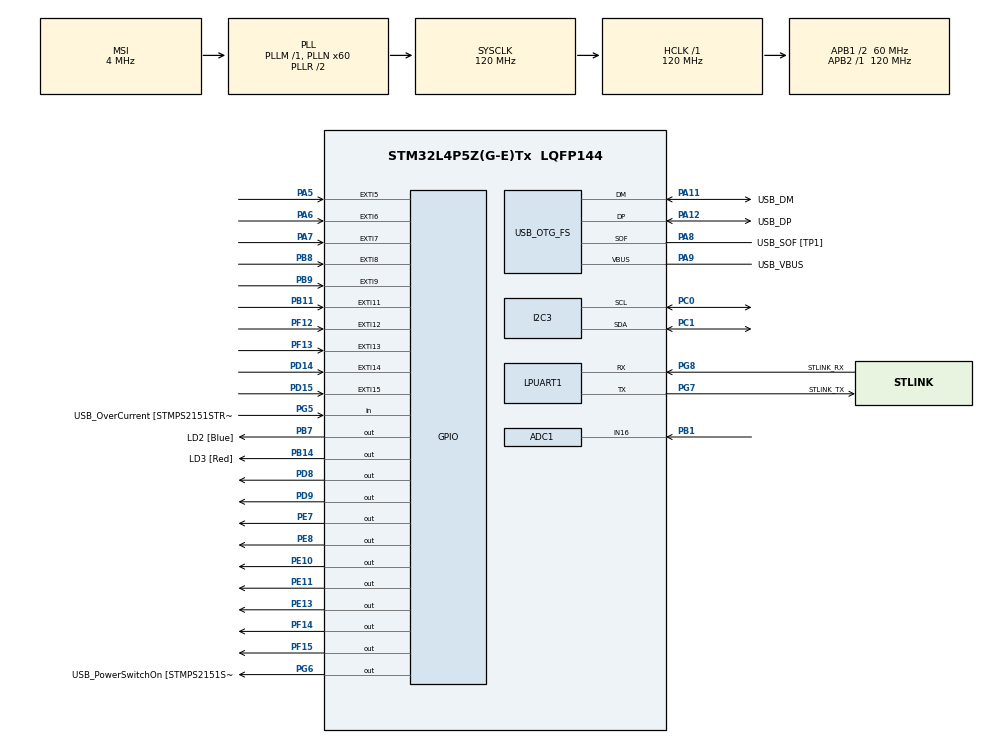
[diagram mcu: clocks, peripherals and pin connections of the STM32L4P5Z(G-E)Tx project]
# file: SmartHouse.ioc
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ADC1.Channel-2\#ChannelRegularConversion=ADC_CHANNEL_16
ADC1.NbrOfConversionFlag=1
ADC1.OffsetNumber-2\#ChannelRegularConversion=ADC_OFFSET_NONE
ADC1.Rank-2\#ChannelRegularConversion=1
ADC1.SamplingTime-2\#ChannelRegularConversion=ADC_SAMPLETIME_2CYCLES_5
ADC1.master=1
FREERTOS.Tasks01=UpdateScreen,24,128,StartUpdate,Default,NULL,Dynamic,NULL,NULL;ReadLM35,8,128,StartRead,Default,NULL,Dynamic,NULL,NULL
I2C3.Timing=0x107075B0
LPUART1.WordLength=UART_WORDLENGTH_8B
Mcu.Family=STM32L4
Mcu.Name=STM32L4P5Z(G-E)Tx
Mcu.Package=LQFP144
NVIC.EXTI15_10_IRQn=true\:5\:0\:false\:false\:true\:true\:true\:true
NVIC.EXTI9_5_IRQn=true\:5\:0\:false\:false\:true\:true\:true\:true
NVIC.LPUART1_IRQn=true\:5\:0\:false\:false\:true\:true\:true\:true
NVIC.PriorityGroup=NVIC_PRIORITYGROUP_4
NVIC.TIM6_DAC_IRQn=true\:0\:0\:false\:false\:true\:false\:false\:true
NVIC.TimeBase=TIM6_DAC_IRQn
NVIC.TimeBaseIP=TIM6
PA10.GPIO_Label=USB_ID
PA10.Signal=USB_OTG_FS_ID
PA11.GPIO_Label=USB_DM
PA11.Mode=Device_Only
PA11.Signal=USB_OTG_FS_DM
PA12.GPIO_Label=USB_DP
PA12.Mode=Device_Only
PA12.Signal=USB_OTG_FS_DP
PA13\ (JTMS/SWDIO).GPIO_Label=TMS
PA13\ (JTMS/SWDIO).Mode=Trace_Asynchronous_SW
PA13\ (JTMS/SWDIO).Signal=SYS_JTMS-SWDIO
PA14\ (JTCK/SWCLK).GPIO_Label=TCK
PA14\ (JTCK/SWCLK).Mode=Trace_Asynchronous_SW
PA14\ (JTCK/SWCLK).Signal=SYS_JTCK-SWCLK
PA5.GPIO_ModeDefaultEXTI=GPIO_MODE_IT_RISING
PA5.GPIO_PuPd=GPIO_PULLDOWN
PA5.Signal=GPXTI5
PA6.GPIO_ModeDefaultEXTI=GPIO_MODE_IT_RISING
PA6.GPIO_PuPd=GPIO_PULLDOWN
PA6.Signal=GPXTI6
PA7.GPIO_ModeDefaultEXTI=GPIO_MODE_IT_RISING
PA7.GPIO_PuPd=GPIO_PULLDOWN
PA7.Signal=GPXTI7
PA8.GPIO_Label=USB_SOF [TP1]
PA8.Mode=Activate_SOF_FS
PA8.Signal=USB_OTG_FS_SOF
PA9.GPIO_Label=USB_VBUS
PA9.Mode=Activate_VBUS
PA9.Signal=USB_OTG_FS_VBUS
PB1.Signal=ADCx_IN16
PB11.GPIO_ModeDefaultEXTI=GPIO_MODE_IT_RISING
PB11.GPIO_PuPd=GPIO_PULLDOWN
PB11.Signal=GPXTI11
PB14.GPIO_Label=LD3 [Red]
PB14.Signal=GPIO_Output
PB3\ (JTDO/TRACESWO).GPIO_Label=SWO
PB3\ (JTDO/TRACESWO).Mode=Trace_Asynchronous_SW
PB3\ (JTDO/TRACESWO).Signal=SYS_JTDO-SWO
PB7.GPIO_Label=LD2 [Blue]
PB7.Signal=GPIO_Output
PB8.GPIO_ModeDefaultEXTI=GPIO_MODE_IT_RISING
PB8.GPIO_PuPd=GPIO_PULLDOWN
PB8.Signal=GPXTI8
PB9.GPIO_ModeDefaultEXTI=GPIO_MODE_IT_RISING
PB9.GPIO_PuPd=GPIO_PULLDOWN
PB9.Signal=GPXTI9
PC0.Mode=I2C
PC0.Signal=I2C3_SCL
PC1.Mode=I2C
PC1.Signal=I2C3_SDA
PC14-OSC32_IN\ (PC14).Mode=LSE-External-Oscillator
PC14-OSC32_IN\ (PC14).Signal=RCC_OSC32_IN
PC15-OSC32_OUT\ (PC15).Mode=LSE-External-Oscillator
PC15-OSC32_OUT\ (PC15).Signal=RCC_OSC32_OUT
PD14.GPIO_ModeDefaultEXTI=GPIO_MODE_IT_RISING
PD14.GPIO_PuPd=GPIO_PULLDOWN
PD14.Signal=GPXTI14
PD15.GPIO_ModeDefaultEXTI=GPIO_MODE_IT_RISING
PD15.GPIO_PuPd=GPIO_PULLDOWN
PD15.Signal=GPXTI15
PD8.Signal=GPIO_Output
PD9.Signal=GPIO_Output
PE10.Signal=GPIO_Output
PE11.Signal=GPIO_Output
PE13.Signal=GPIO_Output
PE7.Signal=GPIO_Output
PE8.Signal=GPIO_Output
PF12.GPIO_PuPd=GPIO_PULLDOWN
PF12.Signal=GPXTI12
PF13.GPIO_PuPd=GPIO_PULLDOWN
PF13.Signal=GPXTI13
PF14.Signal=GPIO_Output
PF15.Signal=GPIO_Output
PG5.GPIO_Label=USB_OverCurrent [STMPS2151STR_FAULT]
PG5.Signal=GPIO_Input
PG6.GPIO_Label=USB_PowerSwitchOn [STMPS2151STR_En]
PG6.Signal=GPIO_Output
PG7.GPIO_Label=STLINK_TX
PG7.Mode=Asynchronous
PG7.Signal=LPUART1_TX
PG8.GPIO_Label=STLINK_RX
PG8.Mode=Asynchronous
PG8.Signal=LPUART1_RX
PH0-OSC_IN\ (PH0).Mode=HSE-External-Clock-Source
PH0-OSC_IN\ (PH0).Signal=RCC_OSC_IN
PH1-OSC_OUT\ (PH1).Signal=RCC_OSC_OUT
ProjectManager.HeapSize=0x200
ProjectManager.StackSize=0x400
ProjectManager.TargetToolchain=STM32CubeIDE
RCC.48MHZClocksFreq_Value=24000000
RCC.ADCFreq_Value=48000000
RCC.AHBFreq_Value=120000000
RCC.APB1CLKDivider=RCC_HCLK_DIV2
RCC.APB1Freq_Value=60000000
RCC.APB1TimFreq_Value=120000000
RCC.APB2Freq_Value=120000000
RCC.APB2TimFreq_Value=120000000
RCC.CortexFreq_Value=120000000
RCC.HCLKFreq_Value=120000000
RCC.HSE_VALUE=8000000
RCC.HSI48_VALUE=48000000
RCC.HSI_VALUE=16000000
RCC.MSI_VALUE=4000000
RCC.PLLMUL=RCC_PLL_MUL9
RCC.PLLN=60
RCC.PLLSAI1N=24
RCC.PRESCALERUSB=RCC_USBCLKSOURCE_PLL_DIV1_5
RCC.SYSCLKFreq_VALUE=120000000
RCC.SYSCLKSource=RCC_SYSCLKSOURCE_PLLCLK
RCC.SYSCLKSourceVirtual=RCC_SYSCLKSOURCE_PLLCLK
RCC.USBFreq_Value=48000000
RCC.VCOOutputFreq_Value=240000000
SH.ADCx_IN16.0=ADC1_IN16,IN16-Single-Ended
USB_OTG_FS.VirtualMode=Device_Only
VP_FREERTOS_VS_CMSIS_V2.Mode=CMSIS_V2
VP_SYS_VS_tim6.Mode=TIM6
board=NUCLEO-L4P5ZG

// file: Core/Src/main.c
/* USER CODE BEGIN Header */
/**
  ******************************************************************************
  * @file           : main.c
  * @brief          : Main program body
  ******************************************************************************
  * @attention
  *
  * <h2><center>&copy; Copyright (c) 2021 STMicroelectronics.
  * All rights reserved.</center></h2>
  *
  * This software component is licensed by ST under BSD 3-Clause license,
  * the "License"; You may not use this file except in compliance with the
  * License. You may obtain a copy of the License at:
  *                        opensource.org/licenses/BSD-3-Clause
  *
  ******************************************************************************
  */
/* USER CODE END Header */
#include "main.h"
#include "cmsis_os.h"

/* USER CODE BEGIN Includes */
#include "string.h"
/* USER CODE END Includes */

/* USER CODE BEGIN PD */

enum status
{
	APAGADO = 0,
	ENCENDIDO,
	ROOM1_ON,
	ROOM1_OFF,
	ROOM2_ON,
	ROOM2_OFF,
	ROOM3_ON,
	ROOM3_OFF,
	BATHROOM1_ON,
	BATHROOM1_OFF,
	BATHROOM2_ON,
	BATHROOM2_OFF,
	KITCHEN_ON,
	KITCHEN_OFF,
	GARDEN_ON,
	GARDEN_OFF,
	LIVINGROOM_ON,
	LIVINGROOM_OFF,
	FAN_ON,
	FAN_OFF
};

enum function
{
	Update_Temp,
	Update_Leds,
	Data_Requested
};

enum info
{
	COMMAND,
	DATA
};

enum options
{
	Change_State,
	Request_FirstFloor,
	Request_SecondFloor,
	Automatic_Mode,
	Manual_Mode
};

/* USER CODE END PD */

ADC_HandleTypeDef hadc1;

I2C_HandleTypeDef hi2c3;

UART_HandleTypeDef hlpuart1;

PCD_HandleTypeDef hpcd_USB_OTG_FS;

/* Definitions for UpdateScreen */
osThreadId_t UpdateScreenHandle;
const osThreadAttr_t UpdateScreen_attributes = {
  .name = "UpdateScreen",
  .priority = (osPriority_t) osPriorityNormal,
  .stack_size = 128 * 4
};
/* Definitions for ReadLM35 */
osThreadId_t ReadLM35Handle;
const osThreadAttr_t ReadLM35_attributes = {
  .name = "ReadLM35",
  .priority = (osPriority_t) osPriorityLow,
  .stack_size = 128 * 4
};
/* USER CODE BEGIN PV */
uint8_t temp_LM35;
uint8_t buffer[2];
uint8_t buffer_in[2];
uint8_t current_mode = Automatic_Mode;

/* USER CODE END PV */

void SystemClock_Config(void);
static void MX_GPIO_Init(void);
static void MX_LPUART1_UART_Init(void);
static void MX_USB_OTG_FS_PCD_Init(void);
static void MX_I2C3_Init(void);
static void MX_ADC1_Init(void);
void StartUpdate(void *argument);
void StartRead(void *argument);

/* USER CODE BEGIN PFP */
void UpdateFirstFloor(void);
void UpdateSecondFloor(void);
void ChangePinState(uint8_t data);
/* USER CODE END PFP */

int main(void)
{

  /* MCU Configuration--------------------------------------------------------*/

  /* Reset of all peripherals, Initializes the Flash interface and the Systick. */
  HAL_Init();

  /* Configure the system clock */
  SystemClock_Config();

  /* Initialize all configured peripherals */
  MX_GPIO_Init();
  MX_LPUART1_UART_Init();
  MX_USB_OTG_FS_PCD_Init();
  MX_I2C3_Init();
  MX_ADC1_Init();
  /* USER CODE BEGIN 2 */
  HAL_UART_Receive_IT(&hlpuart1, buffer_in, 2);

  /* USER CODE END 2 */

  /* Init scheduler */
  osKernelInitialize();

  /* Create the thread(s) */
  /* creation of UpdateScreen */
  UpdateScreenHandle = osThreadNew(StartUpdate, NULL, &UpdateScreen_attributes);

  /* creation of ReadLM35 */
  ReadLM35Handle = osThreadNew(StartRead, NULL, &ReadLM35_attributes);

  /* Start scheduler */
  osKernelStart();

  /* We should never get here as control is now taken by the scheduler */
  /* Infinite loop */
  while (1)
  {

  }
}

void SystemClock_Config(void)
{
  RCC_OscInitTypeDef RCC_OscInitStruct = {0};
  RCC_ClkInitTypeDef RCC_ClkInitStruct = {0};
  RCC_PeriphCLKInitTypeDef PeriphClkInit = {0};

  /** Configure the main internal regulator output voltage
  */
  if (HAL_PWREx_ControlVoltageScaling(PWR_REGULATOR_VOLTAGE_SCALE1_BOOST) != HAL_OK)
  {
    Error_Handler();
  }
  /** Configure LSE Drive Capability
  */
  HAL_PWR_EnableBkUpAccess();
  __HAL_RCC_LSEDRIVE_CONFIG(RCC_LSEDRIVE_LOW);
  /** Initializes the RCC Oscillators according to the specified parameters
  * in the RCC_OscInitTypeDef structure.
  */
  RCC_OscInitStruct.OscillatorType = RCC_OSCILLATORTYPE_LSE|RCC_OSCILLATORTYPE_MSI;
  RCC_OscInitStruct.LSEState = RCC_LSE_ON;
  RCC_OscInitStruct.MSIState = RCC_MSI_ON;
  RCC_OscInitStruct.MSICalibrationValue = 0;
  RCC_OscInitStruct.MSIClockRange = RCC_MSIRANGE_6;
  RCC_OscInitStruct.PLL.PLLState = RCC_PLL_ON;
  RCC_OscInitStruct.PLL.PLLSource = RCC_PLLSOURCE_MSI;
  RCC_OscInitStruct.PLL.PLLM = 1;
  RCC_OscInitStruct.PLL.PLLN = 60;
  RCC_OscInitStruct.PLL.PLLP = RCC_PLLP_DIV7;
  RCC_OscInitStruct.PLL.PLLQ = RCC_PLLQ_DIV2;
  RCC_OscInitStruct.PLL.PLLR = RCC_PLLR_DIV2;
  if (HAL_RCC_OscConfig(&RCC_OscInitStruct) != HAL_OK)
  {
    Error_Handler();
  }
  /** Initializes the CPU, AHB and APB buses clocks
  */
  RCC_ClkInitStruct.ClockType = RCC_CLOCKTYPE_HCLK|RCC_CLOCKTYPE_SYSCLK
                              |RCC_CLOCKTYPE_PCLK1|RCC_CLOCKTYPE_PCLK2;
  RCC_ClkInitStruct.SYSCLKSource = RCC_SYSCLKSOURCE_PLLCLK;
  RCC_ClkInitStruct.AHBCLKDivider = RCC_SYSCLK_DIV1;
  RCC_ClkInitStruct.APB1CLKDivider = RCC_HCLK_DIV2;
  RCC_ClkInitStruct.APB2CLKDivider = RCC_HCLK_DIV1;

  if (HAL_RCC_ClockConfig(&RCC_ClkInitStruct, FLASH_LATENCY_5) != HAL_OK)
  {
    Error_Handler();
  }
  PeriphClkInit.PeriphClockSelection = RCC_PERIPHCLK_LPUART1|RCC_PERIPHCLK_I2C3
                              |RCC_PERIPHCLK_USB|RCC_PERIPHCLK_ADC;
  PeriphClkInit.Lpuart1ClockSelection = RCC_LPUART1CLKSOURCE_PCLK1;
  PeriphClkInit.I2c3ClockSelection = RCC_I2C3CLKSOURCE_PCLK1;
  PeriphClkInit.AdcClockSelection = RCC_ADCCLKSOURCE_PLLSAI1;
  PeriphClkInit.UsbClockSelection = RCC_USBCLKSOURCE_PLLSAI1;
  PeriphClkInit.PLLSAI1.PLLSAI1Source = RCC_PLLSOURCE_MSI;
  PeriphClkInit.PLLSAI1.PLLSAI1M = 1;
  PeriphClkInit.PLLSAI1.PLLSAI1N = 24;
  PeriphClkInit.PLLSAI1.PLLSAI1P = RCC_PLLP_DIV7;
  PeriphClkInit.PLLSAI1.PLLSAI1Q = RCC_PLLQ_DIV2;
  PeriphClkInit.PLLSAI1.PLLSAI1R = RCC_PLLR_DIV2;
  PeriphClkInit.PLLSAI1.PLLSAI1ClockOut = RCC_PLLSAI1_48M2CLK|RCC_PLLSAI1_ADC1CLK;
  if (HAL_RCCEx_PeriphCLKConfig(&PeriphClkInit) != HAL_OK)
  {
    Error_Handler();
  }
  /** Enable MSI Auto calibration
  */
  HAL_RCCEx_EnableMSIPLLMode();
}

static void MX_ADC1_Init(void)
{

  ADC_MultiModeTypeDef multimode = {0};
  ADC_ChannelConfTypeDef sConfig = {0};

  /** Common config
  */
  hadc1.Instance = ADC1;
  hadc1.Init.ClockPrescaler = ADC_CLOCK_ASYNC_DIV1;
  hadc1.Init.Resolution = ADC_RESOLUTION_12B;
  hadc1.Init.DataAlign = ADC_DATAALIGN_RIGHT;
  hadc1.Init.ScanConvMode = ADC_SCAN_DISABLE;
  hadc1.Init.EOCSelection = ADC_EOC_SINGLE_CONV;
  hadc1.Init.LowPowerAutoWait = DISABLE;
  hadc1.Init.ContinuousConvMode = DISABLE;
  hadc1.Init.NbrOfConversion = 1;
  hadc1.Init.DiscontinuousConvMode = DISABLE;
  hadc1.Init.ExternalTrigConv = ADC_SOFTWARE_START;
  hadc1.Init.ExternalTrigConvEdge = ADC_EXTERNALTRIGCONVEDGE_NONE;
  hadc1.Init.DMAContinuousRequests = DISABLE;
  hadc1.Init.Overrun = ADC_OVR_DATA_PRESERVED;
  hadc1.Init.OversamplingMode = DISABLE;
  if (HAL_ADC_Init(&hadc1) != HAL_OK)
  {
    Error_Handler();
  }
  /** Configure the ADC multi-mode
  */
  multimode.Mode = ADC_MODE_INDEPENDENT;
  if (HAL_ADCEx_MultiModeConfigChannel(&hadc1, &multimode) != HAL_OK)
  {
    Error_Handler();
  }
  /** Configure Regular Channel
  */
  sConfig.Channel = ADC_CHANNEL_16;
  sConfig.Rank = ADC_REGULAR_RANK_1;
  sConfig.SamplingTime = ADC_SAMPLETIME_2CYCLES_5;
  sConfig.SingleDiff = ADC_SINGLE_ENDED;
  sConfig.OffsetNumber = ADC_OFFSET_NONE;
  sConfig.Offset = 0;
  if (HAL_ADC_ConfigChannel(&hadc1, &sConfig) != HAL_OK)
  {
    Error_Handler();
  }

}

static void MX_I2C3_Init(void)
{

  hi2c3.Instance = I2C3;
  hi2c3.Init.Timing = 0x107075B0;
  hi2c3.Init.OwnAddress1 = 0;
  hi2c3.Init.AddressingMode = I2C_ADDRESSINGMODE_7BIT;
  hi2c3.Init.DualAddressMode = I2C_DUALADDRESS_DISABLE;
  hi2c3.Init.OwnAddress2 = 0;
  hi2c3.Init.OwnAddress2Masks = I2C_OA2_NOMASK;
  hi2c3.Init.GeneralCallMode = I2C_GENERALCALL_DISABLE;
  hi2c3.Init.NoStretchMode = I2C_NOSTRETCH_DISABLE;
  if (HAL_I2C_Init(&hi2c3) != HAL_OK)
  {
    Error_Handler();
  }
  /** Configure Analogue filter
  */
  if (HAL_I2CEx_ConfigAnalogFilter(&hi2c3, I2C_ANALOGFILTER_ENABLE) != HAL_OK)
  {
    Error_Handler();
  }
  /** Configure Digital filter
  */
  if (HAL_I2CEx_ConfigDigitalFilter(&hi2c3, 0) != HAL_OK)
  {
    Error_Handler();
  }

}

static void MX_LPUART1_UART_Init(void)
{

  hlpuart1.Instance = LPUART1;
  hlpuart1.Init.BaudRate = 209700;
  hlpuart1.Init.WordLength = UART_WORDLENGTH_8B;
  hlpuart1.Init.StopBits = UART_STOPBITS_1;
  hlpuart1.Init.Parity = UART_PARITY_NONE;
  hlpuart1.Init.Mode = UART_MODE_TX_RX;
  hlpuart1.Init.HwFlowCtl = UART_HWCONTROL_NONE;
  hlpuart1.Init.OneBitSampling = UART_ONE_BIT_SAMPLE_DISABLE;
  hlpuart1.Init.ClockPrescaler = UART_PRESCALER_DIV1;
  hlpuart1.AdvancedInit.AdvFeatureInit = UART_ADVFEATURE_NO_INIT;
  hlpuart1.FifoMode = UART_FIFOMODE_DISABLE;
  if (HAL_UART_Init(&hlpuart1) != HAL_OK)
  {
    Error_Handler();
  }
  if (HAL_UARTEx_SetTxFifoThreshold(&hlpuart1, UART_TXFIFO_THRESHOLD_1_8) != HAL_OK)
  {
    Error_Handler();
  }
  if (HAL_UARTEx_SetRxFifoThreshold(&hlpuart1, UART_RXFIFO_THRESHOLD_1_8) != HAL_OK)
  {
    Error_Handler();
  }
  if (HAL_UARTEx_DisableFifoMode(&hlpuart1) != HAL_OK)
  {
    Error_Handler();
  }

}

static void MX_USB_OTG_FS_PCD_Init(void)
{

  hpcd_USB_OTG_FS.Instance = USB_OTG_FS;
  hpcd_USB_OTG_FS.Init.dev_endpoints = 6;
  hpcd_USB_OTG_FS.Init.phy_itface = PCD_PHY_EMBEDDED;
  hpcd_USB_OTG_FS.Init.Sof_enable = ENABLE;
  hpcd_USB_OTG_FS.Init.low_power_enable = DISABLE;
  hpcd_USB_OTG_FS.Init.lpm_enable = DISABLE;
  hpcd_USB_OTG_FS.Init.battery_charging_enable = ENABLE;
  hpcd_USB_OTG_FS.Init.use_dedicated_ep1 = DISABLE;
  hpcd_USB_OTG_FS.Init.vbus_sensing_enable = ENABLE;
  if (HAL_PCD_Init(&hpcd_USB_OTG_FS) != HAL_OK)
  {
    Error_Handler();
  }

}

static void MX_GPIO_Init(void)
{
  GPIO_InitTypeDef GPIO_InitStruct = {0};

  /* GPIO Ports Clock Enable */
  __HAL_RCC_GPIOC_CLK_ENABLE();
  __HAL_RCC_GPIOH_CLK_ENABLE();
  __HAL_RCC_GPIOA_CLK_ENABLE();
  __HAL_RCC_GPIOB_CLK_ENABLE();
  __HAL_RCC_GPIOF_CLK_ENABLE();
  __HAL_RCC_GPIOE_CLK_ENABLE();
  __HAL_RCC_GPIOD_CLK_ENABLE();
  __HAL_RCC_GPIOG_CLK_ENABLE();
  HAL_PWREx_EnableVddIO2();

  /*Configure GPIO pin Output Level */
  HAL_GPIO_WritePin(GPIOF, GPIO_PIN_14|GPIO_PIN_15, GPIO_PIN_RESET);

  /*Configure GPIO pin Output Level */
  HAL_GPIO_WritePin(GPIOE, GPIO_PIN_7|GPIO_PIN_8|GPIO_PIN_10|GPIO_PIN_11
                          |GPIO_PIN_13, GPIO_PIN_RESET);

  /*Configure GPIO pin Output Level */
  HAL_GPIO_WritePin(GPIOB, LD3_Pin|LD2_Pin, GPIO_PIN_RESET);

  /*Configure GPIO pin Output Level */
  HAL_GPIO_WritePin(GPIOD, GPIO_PIN_8|GPIO_PIN_9, GPIO_PIN_RESET);

  /*Configure GPIO pin Output Level */
  HAL_GPIO_WritePin(USB_PowerSwitchOn_GPIO_Port, USB_PowerSwitchOn_Pin, GPIO_PIN_RESET);

  /*Configure GPIO pins : PA5 PA6 PA7 */
  GPIO_InitStruct.Pin = GPIO_PIN_5|GPIO_PIN_6|GPIO_PIN_7;
  GPIO_InitStruct.Mode = GPIO_MODE_IT_RISING;
  GPIO_InitStruct.Pull = GPIO_PULLDOWN;
  HAL_GPIO_Init(GPIOA, &GPIO_InitStruct);

  /*Configure GPIO pins : PF12 PF13 */
  GPIO_InitStruct.Pin = GPIO_PIN_12|GPIO_PIN_13;
  GPIO_InitStruct.Mode = GPIO_MODE_IT_RISING;
  GPIO_InitStruct.Pull = GPIO_PULLDOWN;
  HAL_GPIO_Init(GPIOF, &GPIO_InitStruct);

  /*Configure GPIO pins : PF14 PF15 */
  GPIO_InitStruct.Pin = GPIO_PIN_14|GPIO_PIN_15;
  GPIO_InitStruct.Mode = GPIO_MODE_OUTPUT_PP;
  GPIO_InitStruct.Pull = GPIO_NOPULL;
  GPIO_InitStruct.Speed = GPIO_SPEED_FREQ_LOW;
  HAL_GPIO_Init(GPIOF, &GPIO_InitStruct);

  /*Configure GPIO pins : PE7 PE8 PE10 PE11
                           PE13 */
  GPIO_InitStruct.Pin = GPIO_PIN_7|GPIO_PIN_8|GPIO_PIN_10|GPIO_PIN_11
                          |GPIO_PIN_13;
  GPIO_InitStruct.Mode = GPIO_MODE_OUTPUT_PP;
  GPIO_InitStruct.Pull = GPIO_NOPULL;
  GPIO_InitStruct.Speed = GPIO_SPEED_FREQ_LOW;
  HAL_GPIO_Init(GPIOE, &GPIO_InitStruct);

  /*Configure GPIO pins : PB11 PB8 PB9 */
  GPIO_InitStruct.Pin = GPIO_PIN_11|GPIO_PIN_8|GPIO_PIN_9;
  GPIO_InitStruct.Mode = GPIO_MODE_IT_RISING;
  GPIO_InitStruct.Pull = GPIO_PULLDOWN;
  HAL_GPIO_Init(GPIOB, &GPIO_InitStruct);

  /*Configure GPIO pins : LD3_Pin LD2_Pin */
  GPIO_InitStruct.Pin = LD3_Pin|LD2_Pin;
  GPIO_InitStruct.Mode = GPIO_MODE_OUTPUT_PP;
  GPIO_InitStruct.Pull = GPIO_NOPULL;
  GPIO_InitStruct.Speed = GPIO_SPEED_FREQ_LOW;
  HAL_GPIO_Init(GPIOB, &GPIO_InitStruct);

  /*Configure GPIO pins : PD8 PD9 */
  GPIO_InitStruct.Pin = GPIO_PIN_8|GPIO_PIN_9;
  GPIO_InitStruct.Mode = GPIO_MODE_OUTPUT_PP;
  GPIO_InitStruct.Pull = GPIO_NOPULL;
  GPIO_InitStruct.Speed = GPIO_SPEED_FREQ_LOW;
  HAL_GPIO_Init(GPIOD, &GPIO_InitStruct);

  /*Configure GPIO pins : PD14 PD15 */
  GPIO_InitStruct.Pin = GPIO_PIN_14|GPIO_PIN_15;
  GPIO_InitStruct.Mode = GPIO_MODE_IT_RISING;
  GPIO_InitStruct.Pull = GPIO_PULLDOWN;
  HAL_GPIO_Init(GPIOD, &GPIO_InitStruct);

  /*Configure GPIO pin : USB_OverCurrent_Pin */
  GPIO_InitStruct.Pin = USB_OverCurrent_Pin;
  GPIO_InitStruct.Mode = GPIO_MODE_INPUT;
  GPIO_InitStruct.Pull = GPIO_NOPULL;
  HAL_GPIO_Init(USB_OverCurrent_GPIO_Port, &GPIO_InitStruct);

  /*Configure GPIO pin : USB_PowerSwitchOn_Pin */
  GPIO_InitStruct.Pin = USB_PowerSwitchOn_Pin;
  GPIO_InitStruct.Mode = GPIO_MODE_OUTPUT_PP;
  GPIO_InitStruct.Pull = GPIO_NOPULL;
  GPIO_InitStruct.Speed = GPIO_SPEED_FREQ_LOW;
  HAL_GPIO_Init(USB_PowerSwitchOn_GPIO_Port, &GPIO_InitStruct);

  /* EXTI interrupt init*/
  HAL_NVIC_SetPriority(EXTI9_5_IRQn, 5, 0);
  HAL_NVIC_EnableIRQ(EXTI9_5_IRQn);

  HAL_NVIC_SetPriority(EXTI15_10_IRQn, 5, 0);
  HAL_NVIC_EnableIRQ(EXTI15_10_IRQn);

}

/* USER CODE BEGIN 4 */
/*ISR routines */
void HAL_GPIO_EXTI_Callback(uint16_t GPIO_Pin)
{
	buffer[COMMAND] = Update_Leds;
	switch(GPIO_Pin)
	{
		case GPIO_PIN_8:
			HAL_GPIO_TogglePin(GPIOE, GPIO_PIN_11);
			if(HAL_GPIO_ReadPin(GPIOE, GPIO_PIN_11))
			{
				buffer[DATA] = ROOM1_ON;
			}
			else
			{
				buffer[DATA] = ROOM1_OFF;
			}
			break;
		case GPIO_PIN_9:
			HAL_GPIO_TogglePin(GPIOF, GPIO_PIN_14);
			if(HAL_GPIO_ReadPin(GPIOF, GPIO_PIN_14))
			{
				buffer[DATA] = ROOM2_ON;
			}
			else
			{
				buffer[DATA] = ROOM2_OFF;
			}
			break;
		case GPIO_PIN_5:
			HAL_GPIO_TogglePin(GPIOE, GPIO_PIN_13);
			if(HAL_GPIO_ReadPin(GPIOE, GPIO_PIN_13))
			{
				buffer[DATA] = ROOM3_ON;
			}
			else
			{
				buffer[DATA] = ROOM3_OFF;
			}
			break;
		case GPIO_PIN_6:
			HAL_GPIO_TogglePin(GPIOF, GPIO_PIN_15);
			if(HAL_GPIO_ReadPin(GPIOF, GPIO_PIN_15))
			{
				buffer[DATA] = BATHROOM1_ON;
			}
			else
			{
				buffer[DATA] = BATHROOM1_OFF;
			}
			break;
		case GPIO_PIN_7:
			HAL_GPIO_TogglePin(GPIOD, GPIO_PIN_8);
			if(HAL_GPIO_ReadPin(GPIOD, GPIO_PIN_8))
			{
				buffer[DATA] = BATHROOM2_ON;
			}
			else
			{
				buffer[DATA] = BATHROOM2_OFF;
			}
			break;
		case GPIO_PIN_14:
			HAL_GPIO_TogglePin(GPIOD, GPIO_PIN_9);
			if(HAL_GPIO_ReadPin(GPIOD, GPIO_PIN_9))
			{
				buffer[DATA] = KITCHEN_ON;
			}
			else
			{
				buffer[DATA] = KITCHEN_OFF;
			}
			break;
		case GPIO_PIN_15:
			HAL_GPIO_TogglePin(GPIOE, GPIO_PIN_8);
			if(HAL_GPIO_ReadPin(GPIOE, GPIO_PIN_8))
			{
				buffer[DATA] = GARDEN_ON;
			}
			else
			{
				buffer[DATA] = GARDEN_OFF;
			}
			break;
		case GPIO_PIN_12:
			HAL_GPIO_TogglePin(GPIOE, GPIO_PIN_7);
			if(HAL_GPIO_ReadPin(GPIOE, GPIO_PIN_7))
			{
				buffer[DATA] = LIVINGROOM_ON;
			}
			else
			{
				buffer[DATA] = LIVINGROOM_OFF;
			}
			break;
		case GPIO_PIN_13:
			if(current_mode == Manual_Mode)
			{
				HAL_GPIO_TogglePin(GPIOE, GPIO_PIN_10);
				if(HAL_GPIO_ReadPin(GPIOE, GPIO_PIN_10))
				{
					buffer[DATA] = FAN_ON;
				}
				else
				{
					buffer[DATA] = FAN_OFF;
				}
			}
			else
			{
				buffer[DATA] = 50;
			}
			break;
		case GPIO_PIN_11:
			HAL_GPIO_TogglePin(GPIOE, GPIO_PIN_8);
			if(HAL_GPIO_ReadPin(GPIOE, GPIO_PIN_8))
			{
				buffer[DATA] = GARDEN_ON;
			}
			else
			{
				buffer[DATA] = GARDEN_OFF;
			}
			break;
	}

	HAL_UART_Transmit(&hlpuart1, buffer, 2, HAL_MAX_DELAY);

}

void HAL_UART_RxCpltCallback(UART_HandleTypeDef *huart)
{

	if(buffer_in[COMMAND] == Change_State)
	{
		ChangePinState(buffer_in[1]);
	}
	else if(buffer_in[COMMAND] == Request_FirstFloor)
	{
		UpdateFirstFloor();
	}
	else if(buffer_in[COMMAND] == Request_SecondFloor)
	{
		UpdateSecondFloor();
	}
	else if(buffer_in[COMMAND] == Automatic_Mode)
	{
		current_mode = Automatic_Mode;
	}
	else if(buffer_in[COMMAND] == Manual_Mode)
	{
		current_mode = Manual_Mode;
	}

	//The UART Port will be ready when arrive another data
	HAL_UART_Receive_IT(&hlpuart1, buffer_in, 2);
}

void UpdateFirstFloor(void)
{
	buffer[COMMAND] = Data_Requested;
	if(HAL_GPIO_ReadPin(GPIOF, GPIO_PIN_15))
	{
		buffer[DATA] = BATHROOM1_ON;
		HAL_UART_Transmit(&hlpuart1, buffer, 2, HAL_MAX_DELAY);

	}

	if(HAL_GPIO_ReadPin(GPIOD, GPIO_PIN_9))
	{
		buffer[DATA] = KITCHEN_ON;
		HAL_UART_Transmit(&hlpuart1, buffer, 2, HAL_MAX_DELAY);
	}

	if(HAL_GPIO_ReadPin(GPIOE, GPIO_PIN_8))
	{
		buffer[DATA] = GARDEN_ON;
		HAL_UART_Transmit(&hlpuart1, buffer, 2, HAL_MAX_DELAY);
	}

	if(HAL_GPIO_ReadPin(GPIOE, GPIO_PIN_7))
	{
		buffer[DATA] = LIVINGROOM_ON;
		HAL_UART_Transmit(&hlpuart1, buffer, 2, HAL_MAX_DELAY);
	}

}

void UpdateSecondFloor(void)
{
	buffer[COMMAND] = Data_Requested;

	if(HAL_GPIO_ReadPin(GPIOE, GPIO_PIN_11))
	{
		buffer[DATA] = ROOM1_ON;
		HAL_UART_Transmit(&hlpuart1, buffer, 2, HAL_MAX_DELAY);
	}

	if(HAL_GPIO_ReadPin(GPIOF, GPIO_PIN_14))
	{
		buffer[DATA] = ROOM2_ON;
		HAL_UART_Transmit(&hlpuart1, buffer, 2, HAL_MAX_DELAY);
	}

	if(HAL_GPIO_ReadPin(GPIOE, GPIO_PIN_13))
	{
		buffer[DATA] = ROOM3_ON;
		HAL_UART_Transmit(&hlpuart1, buffer, 2, HAL_MAX_DELAY);
	}

	if(HAL_GPIO_ReadPin(GPIOD, GPIO_PIN_8))
	{
		buffer[DATA] = BATHROOM2_ON;
		HAL_UART_Transmit(&hlpuart1, buffer, 2, HAL_MAX_DELAY);
	}

	if(HAL_GPIO_ReadPin(GPIOE, GPIO_PIN_10))
	{
		buffer[DATA] = FAN_ON;
		HAL_UART_Transmit(&hlpuart1, buffer, 2, HAL_MAX_DELAY);
	}

}

void ChangePinState(uint8_t data)
{
	buffer[COMMAND] = Update_Leds;

	switch(data)
	{
		case ROOM1_ON:
			HAL_GPIO_WritePin(GPIOE, GPIO_PIN_11, ENCENDIDO);
			buffer[DATA] = ROOM1_ON;
			break;
		case ROOM1_OFF:
			HAL_GPIO_WritePin(GPIOE, GPIO_PIN_11, APAGADO);
			buffer[DATA] = ROOM1_OFF;
			break;
		case ROOM2_ON:
			HAL_GPIO_WritePin(GPIOF, GPIO_PIN_14, ENCENDIDO);
			buffer[DATA] = ROOM2_ON;
			break;
		case ROOM2_OFF:
			HAL_GPIO_WritePin(GPIOF, GPIO_PIN_14, APAGADO);
			buffer[DATA] = ROOM2_OFF;
			break;
		case ROOM3_ON:
			HAL_GPIO_WritePin(GPIOE, GPIO_PIN_13, ENCENDIDO);
			buffer[DATA] = ROOM3_ON;
			break;
		case ROOM3_OFF:
			HAL_GPIO_WritePin(GPIOE, GPIO_PIN_13, APAGADO);
			buffer[DATA] = ROOM3_OFF;
			break;
		case BATHROOM1_ON:
			HAL_GPIO_WritePin(GPIOF, GPIO_PIN_15, ENCENDIDO);
			buffer[DATA] = BATHROOM1_ON;
			break;
		case BATHROOM1_OFF:
			HAL_GPIO_WritePin(GPIOF, GPIO_PIN_15, APAGADO);
			buffer[DATA] = BATHROOM1_OFF;
			break;
		case BATHROOM2_ON:
			HAL_GPIO_WritePin(GPIOD, GPIO_PIN_8, ENCENDIDO);
			buffer[DATA] = BATHROOM2_ON;
			break;
		case BATHROOM2_OFF:
			HAL_GPIO_WritePin(GPIOD, GPIO_PIN_8, APAGADO);
			buffer[DATA] = BATHROOM2_OFF;
			break;
		case KITCHEN_ON:
			HAL_GPIO_WritePin(GPIOD, GPIO_PIN_9, ENCENDIDO);
			buffer[DATA] = KITCHEN_ON;
			break;
		case KITCHEN_OFF:
			HAL_GPIO_WritePin(GPIOD, GPIO_PIN_9, APAGADO);
			buffer[DATA] = KITCHEN_OFF;
			break;
		case GARDEN_ON:
			HAL_GPIO_WritePin(GPIOE, GPIO_PIN_8, ENCENDIDO);
			buffer[DATA] = GARDEN_ON;
			break;
		case GARDEN_OFF:
			HAL_GPIO_WritePin(GPIOE, GPIO_PIN_8, APAGADO);
			buffer[DATA] = GARDEN_OFF;
			break;
		case LIVINGROOM_ON:
			HAL_GPIO_WritePin(GPIOE, GPIO_PIN_7, ENCENDIDO);
			buffer[DATA] = LIVINGROOM_ON;
			break;
		case LIVINGROOM_OFF:
			HAL_GPIO_WritePin(GPIOE, GPIO_PIN_7, APAGADO);
			buffer[DATA] = LIVINGROOM_OFF;
			break;
		case FAN_ON:
			HAL_GPIO_WritePin(GPIOE, GPIO_PIN_10, ENCENDIDO);
			buffer[DATA] = FAN_ON;
			break;
		case FAN_OFF:
			HAL_GPIO_WritePin(GPIOE, GPIO_PIN_10, APAGADO);
			buffer[DATA] = FAN_OFF;
			break;
	}
	//Transimit the confirmation that the state change LED/FAN
	HAL_UART_Transmit(&hlpuart1, buffer, 2, HAL_MAX_DELAY);
}

/* USER CODE END 4 */

void StartUpdate(void *argument)
{
  for(;;)
  {
	  osDelay(1);
  }
}

void StartRead(void *argument)
{
  /* USER CODE BEGIN StartRead */
  /* Infinite loop */
  for(;;)
  {
	//GET ADC Value
	HAL_ADC_Start(&hadc1);
	HAL_ADC_PollForConversion(&hadc1, HAL_MAX_DELAY);
	temp_LM35 = HAL_ADC_GetValue(&hadc1)/10;
	buffer[DATA] = temp_LM35;
	buffer[COMMAND] = Update_Temp;

	HAL_UART_Transmit_IT(&hlpuart1, buffer, 2);

	osDelay(250);
  }
  /* USER CODE END StartRead */
}

 /**
  * @brief  Period elapsed callback in non blocking mode
  * @note   This function is called  when TIM6 interrupt took place, inside
  * HAL_TIM_IRQHandler(). It makes a direct call to HAL_IncTick() to increment
  * a global variable "uwTick" used as application time base.
  * @param  htim : TIM handle
  * @retval None
  */
void HAL_TIM_PeriodElapsedCallback(TIM_HandleTypeDef *htim)
{
  if (htim->Instance == TIM6) {
    HAL_IncTick();
  }
}

void Error_Handler(void)
{
  __disable_irq();
  while (1)
  {
  }
}

/************************ (C) COPYRIGHT STMicroelectronics *****END OF FILE****/
